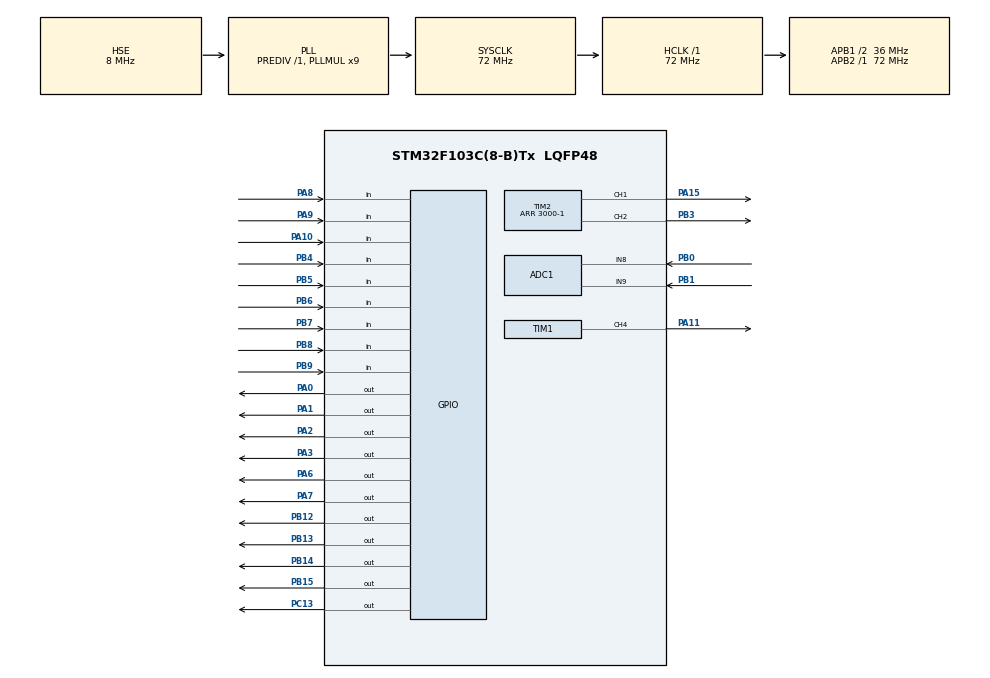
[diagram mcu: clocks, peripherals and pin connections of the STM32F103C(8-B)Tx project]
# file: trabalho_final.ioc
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ADC1.Channel-1\#ChannelRegularConversion=ADC_CHANNEL_8
ADC1.Channel-10\#ChannelRegularConversion=ADC_CHANNEL_9
ADC1.Channel-11\#ChannelRegularConversion=ADC_CHANNEL_9
ADC1.Channel-12\#ChannelRegularConversion=ADC_CHANNEL_9
ADC1.Channel-2\#ChannelRegularConversion=ADC_CHANNEL_8
ADC1.Channel-3\#ChannelRegularConversion=ADC_CHANNEL_8
ADC1.Channel-4\#ChannelRegularConversion=ADC_CHANNEL_8
ADC1.Channel-5\#ChannelRegularConversion=ADC_CHANNEL_8
ADC1.Channel-6\#ChannelRegularConversion=ADC_CHANNEL_8
ADC1.Channel-7\#ChannelRegularConversion=ADC_CHANNEL_9
ADC1.Channel-8\#ChannelRegularConversion=ADC_CHANNEL_9
ADC1.Channel-9\#ChannelRegularConversion=ADC_CHANNEL_9
ADC1.NbrOfConversion=12
ADC1.NbrOfConversionFlag=1
ADC1.Rank-1\#ChannelRegularConversion=1
ADC1.Rank-10\#ChannelRegularConversion=10
ADC1.Rank-11\#ChannelRegularConversion=11
ADC1.Rank-12\#ChannelRegularConversion=12
ADC1.Rank-2\#ChannelRegularConversion=2
ADC1.Rank-3\#ChannelRegularConversion=3
ADC1.Rank-4\#ChannelRegularConversion=4
ADC1.Rank-5\#ChannelRegularConversion=5
ADC1.Rank-6\#ChannelRegularConversion=6
ADC1.Rank-7\#ChannelRegularConversion=7
ADC1.Rank-8\#ChannelRegularConversion=8
ADC1.Rank-9\#ChannelRegularConversion=9
ADC1.SamplingTime-1\#ChannelRegularConversion=ADC_SAMPLETIME_1CYCLE_5
ADC1.SamplingTime-10\#ChannelRegularConversion=ADC_SAMPLETIME_1CYCLE_5
ADC1.SamplingTime-11\#ChannelRegularConversion=ADC_SAMPLETIME_1CYCLE_5
ADC1.SamplingTime-12\#ChannelRegularConversion=ADC_SAMPLETIME_1CYCLE_5
ADC1.SamplingTime-2\#ChannelRegularConversion=ADC_SAMPLETIME_1CYCLE_5
ADC1.SamplingTime-3\#ChannelRegularConversion=ADC_SAMPLETIME_1CYCLE_5
ADC1.SamplingTime-4\#ChannelRegularConversion=ADC_SAMPLETIME_1CYCLE_5
ADC1.SamplingTime-5\#ChannelRegularConversion=ADC_SAMPLETIME_1CYCLE_5
ADC1.SamplingTime-6\#ChannelRegularConversion=ADC_SAMPLETIME_1CYCLE_5
ADC1.SamplingTime-7\#ChannelRegularConversion=ADC_SAMPLETIME_1CYCLE_5
ADC1.SamplingTime-8\#ChannelRegularConversion=ADC_SAMPLETIME_1CYCLE_5
ADC1.SamplingTime-9\#ChannelRegularConversion=ADC_SAMPLETIME_1CYCLE_5
ADC1.master=1
Dma.ADC1.0.Direction=DMA_PERIPH_TO_MEMORY
Dma.ADC1.0.Instance=DMA1_Channel1
Dma.ADC1.0.MemDataAlignment=DMA_MDATAALIGN_WORD
Dma.ADC1.0.MemInc=DMA_MINC_ENABLE
Dma.ADC1.0.Mode=DMA_CIRCULAR
Dma.ADC1.0.PeriphDataAlignment=DMA_PDATAALIGN_WORD
Dma.ADC1.0.PeriphInc=DMA_PINC_DISABLE
Dma.ADC1.0.Priority=DMA_PRIORITY_LOW
Dma.MEMTOMEM.1.Direction=DMA_MEMORY_TO_MEMORY
Dma.MEMTOMEM.1.Instance=DMA1_Channel2
Dma.MEMTOMEM.1.MemDataAlignment=DMA_MDATAALIGN_WORD
Dma.MEMTOMEM.1.MemInc=DMA_MINC_ENABLE
Dma.MEMTOMEM.1.Mode=DMA_NORMAL
Dma.MEMTOMEM.1.PeriphDataAlignment=DMA_PDATAALIGN_WORD
Dma.MEMTOMEM.1.PeriphInc=DMA_PINC_ENABLE
Dma.MEMTOMEM.1.Priority=DMA_PRIORITY_LOW
Dma.Request0=ADC1
Dma.Request1=MEMTOMEM
Mcu.Family=STM32F1
Mcu.Name=STM32F103C(8-B)Tx
Mcu.Package=LQFP48
NVIC.DMA1_Channel1_IRQn=true\:0\:0\:false\:false\:true\:false\:true
NVIC.PriorityGroup=NVIC_PRIORITYGROUP_4
NVIC.TIM3_IRQn=true\:0\:0\:false\:false\:true\:true\:true
NVIC.TIM4_IRQn=true\:0\:0\:false\:false\:true\:true\:true
PA0-WKUP.Signal=GPIO_Output
PA1.Signal=GPIO_Output
PA10.Signal=GPIO_Input
PA11.Signal=S_TIM1_CH4
PA13.Mode=Serial_Wire
PA13.Signal=SYS_JTMS-SWDIO
PA14.Mode=Serial_Wire
PA14.Signal=SYS_JTCK-SWCLK
PA15.Signal=S_TIM2_CH1_ETR
PA2.Signal=GPIO_Output
PA3.Signal=GPIO_Output
PA6.Signal=GPIO_Output
PA7.Signal=GPIO_Output
PA8.Signal=GPIO_Input
PA9.Signal=GPIO_Input
PB0.Signal=ADCx_IN8
PB1.Signal=ADCx_IN9
PB12.Signal=GPIO_Output
PB13.Signal=GPIO_Output
PB14.Signal=GPIO_Output
PB15.Signal=GPIO_Output
PB3.Signal=S_TIM2_CH2
PB4.Signal=GPIO_Input
PB5.Signal=GPIO_Input
PB6.Signal=GPIO_Input
PB7.Signal=GPIO_Input
PB8.Signal=GPIO_Input
PB9.Signal=GPIO_Input
PC13-TAMPER-RTC.Signal=GPIO_Output
PD0-OSC_IN.Mode=HSE-External-Oscillator
PD0-OSC_IN.Signal=RCC_OSC_IN
PD1-OSC_OUT.Mode=HSE-External-Oscillator
PD1-OSC_OUT.Signal=RCC_OSC_OUT
ProjectManager.HeapSize=0x200
ProjectManager.StackSize=0x400
ProjectManager.TargetToolchain=STM32CubeIDE
RCC.ADCPresc=RCC_ADCPCLK2_DIV6
RCC.AHBFreq_Value=72000000
RCC.APB1CLKDivider=RCC_HCLK_DIV2
RCC.APB1Freq_Value=36000000
RCC.APB1TimFreq_Value=72000000
RCC.APB2Freq_Value=72000000
RCC.APB2TimFreq_Value=72000000
RCC.HCLKFreq_Value=72000000
RCC.PLLMUL=RCC_PLL_MUL9
RCC.PLLSourceVirtual=RCC_PLLSOURCE_HSE
RCC.SYSCLKFreq_VALUE=72000000
RCC.SYSCLKSource=RCC_SYSCLKSOURCE_PLLCLK
RCC.USBFreq_Value=72000000
SH.ADCx_IN8.0=ADC1_IN8,IN8
SH.ADCx_IN9.0=ADC1_IN9,IN9
SH.S_TIM1_CH4.0=TIM1_CH4,PWM Generation4 CH4
SH.S_TIM2_CH1_ETR.0=TIM2_CH1,PWM Generation1 CH1
SH.S_TIM2_CH2.0=TIM2_CH2,PWM Generation2 CH2
TIM1.AutoReloadPreload=TIM_AUTORELOAD_PRELOAD_ENABLE
TIM1.Channel-PWM\ Generation4\ CH4=TIM_CHANNEL_4
TIM1.Period=3000-1
TIM2.AutoReloadPreload=TIM_AUTORELOAD_PRELOAD_ENABLE
TIM2.Channel-PWM\ Generation1\ CH1=TIM_CHANNEL_1
TIM2.Channel-PWM\ Generation2\ CH2=TIM_CHANNEL_2
TIM2.Period=3000-1
TIM3.Period=3334
TIM3.Prescaler=7201
TIM4.Period=10001
TIM4.Prescaler=7201
VP_TIM1_VS_ClockSourceINT.Mode=Internal
VP_TIM2_VS_ClockSourceINT.Mode=Internal
VP_TIM3_VS_ClockSourceINT.Mode=Internal
VP_TIM4_VS_ClockSourceINT.Mode=Internal
board=custom

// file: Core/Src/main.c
/* USER CODE BEGIN Header */
/**
  ******************************************************************************
  * @file           : main.c
  * @brief          : Main program body
  ******************************************************************************
  * @attention
  *
  * <h2><center>&copy; Copyright (c) 2020 STMicroelectronics.
  * All rights reserved.</center></h2>
  *
  * This software component is licensed by ST under BSD 3-Clause license,
  * the "License"; You may not use this file except in compliance with the
  * License. You may obtain a copy of the License at:
  *                        opensource.org/licenses/BSD-3-Clause
  *
  ******************************************************************************
  */
/* USER CODE END Header */
#include "main.h"

/* USER CODE BEGIN Includes */
#include "display.h"
#include <string.h>
#include <stdio.h>
#include <time.h>
/* USER CODE END Includes */

/* USER CODE BEGIN PD */
#define yes 1
#define no 0
#define NUMBER_OF_CONVERSION 12
#define scala_temperatura (3.3/4095)/0.005
#define MAX_DUTY_CYCLE_VALUE_TIM2 3000
#define MAX_DUTY_CYCLE_VALUE_TIM1 3000
/* USER CODE END PD */

ADC_HandleTypeDef hadc1;
DMA_HandleTypeDef hdma_adc1;

TIM_HandleTypeDef htim1;
TIM_HandleTypeDef htim2;
TIM_HandleTypeDef htim3;
TIM_HandleTypeDef htim4;

DMA_HandleTypeDef hdma_memtomem_dma1_channel2;

/* USER CODE BEGIN PV */

//Variáveis para as saídas e entradas da cafeteira
uint16_t P1 = GPIO_PIN_5;//pino PB5
uint8_t state_P1;
uint16_t P2 = GPIO_PIN_4;//pino PB4
uint8_t state_P2;
uint16_t B1;//pino PA11
uint16_t R1;//pino PA15
uint16_t T1;//pino PB0
uint16_t CP1;//pino PB3
uint16_t T2;//pino PB1
uint16_t Y1 = GPIO_PIN_15;//pino PB15
uint16_t Y2 = GPIO_PIN_14;//pino PB14
uint16_t Y3 = GPIO_PIN_13;//pino PB13
uint16_t Y4 = GPIO_PIN_12;//pino PB12
uint8_t Bn1;
uint16_t Bn1_bit1 = GPIO_PIN_8;//pino PA8
uint16_t Bn1_bit2 = GPIO_PIN_9;//pino PA9
uint16_t Bn1_bit3 = GPIO_PIN_10;//pino PA10
uint8_t state_Bn1_bit1;
uint8_t state_Bn1_bit2;
uint8_t state_Bn1_bit3;

//Variáveis para o DMA e ADC
uint8_t adcDataReady;
uint32_t adcData[NUMBER_OF_CONVERSION];

//Variáveis para os botões
uint16_t btn_c = GPIO_PIN_6;//pino PB6
uint16_t btn_mais = GPIO_PIN_7;//pino PB7
uint16_t btn_menos = GPIO_PIN_8;//pino PB8
uint16_t btn_s = GPIO_PIN_9;//pino PB9
uint8_t state_btn_c;
uint8_t state_btn_mais;
uint8_t state_btn_menos;
uint8_t state_btn_s;

//Variávais para os pinos do display
uint16_t D4 = GPIO_PIN_2;//pino PA2
uint16_t D5 = GPIO_PIN_3;//pino PA3
uint16_t D6 = GPIO_PIN_6;//pino PA6
uint16_t D7 = GPIO_PIN_7;//pino PA7

uint16_t E = GPIO_PIN_1;//pino PA1
uint16_t RS = GPIO_PIN_0;//pino PA0

//Variáveis usadas para auxílio
int32_t i;
int32_t j;
uint8_t state_relogio;
int8_t selecao = -1;
uint8_t estado;
uint16_t aux1;
uint16_t aux2;
uint32_t dutyCycle_TIM1_CH4;
uint32_t dutyCycle_TIM2_CH1;
uint32_t dutyCycle_TIM2_CH2;
uint16_t horas;
uint16_t minutos;
uint16_t segundos;
char aux3[2];

/* USER CODE END PV */

void SystemClock_Config(void);
static void MX_GPIO_Init(void);
static void MX_DMA_Init(void);
static void MX_ADC1_Init(void);
static void MX_TIM2_Init(void);
static void MX_TIM1_Init(void);
static void MX_TIM3_Init(void);
static void MX_TIM4_Init(void);

int main(void)
{

  /* MCU Configuration--------------------------------------------------------*/

  /* Reset of all peripherals, Initializes the Flash interface and the Systick. */
  HAL_Init();

  /* Configure the system clock */
  SystemClock_Config();

  /* Initialize all configured peripherals */
  MX_GPIO_Init();
  MX_DMA_Init();
  MX_ADC1_Init();
  MX_TIM2_Init();
  MX_TIM1_Init();
  MX_TIM3_Init();
  MX_TIM4_Init();
  /* USER CODE BEGIN 2 */

  //Calibração do ADC
  HAL_ADCEx_Calibration_Start(&hadc1);

  //Inicializa timers
  HAL_TIM_PWM_Start(&htim1, TIM_CHANNEL_4);
  HAL_TIM_PWM_Start(&htim2, TIM_CHANNEL_1);
  HAL_TIM_PWM_Start(&htim2, TIM_CHANNEL_2);
  HAL_TIM_Base_Start_IT(&htim3);
  HAL_TIM_Base_Start_IT(&htim4);

   //captura a hora do sistema e converte para uint
   strcpy(aux3, __TIME__);
   horas = atoi(aux3);
   strcpy(aux3, __TIME__ +3);
   minutos = atoi(aux3);
   strcpy(aux3, __TIME__ +6);
   segundos = atoi(aux3);

  //Inicializa o display
  variaveis_display(E, RS, D4, D5, D6, D7);
  inicializar_display();
  limpar_display();
  escrever_texto_display(0xC0, "Inicializando...");
  HAL_Delay(2000);

  //Estrutura para guardra os dados das capsulas
  typedef struct
  {
    char nome[17];
    char tipo_agua[10];
    float tempo_agua;
    float temperatura_agua;
    int8_t com_gas;
    float tempo_gas;
  }info_capsula;

 //Insere as informações das capsulas na estrutura
 info_capsula capsulas[8];

 	strcpy(capsulas[0].nome, "                ");
	strcpy(capsulas[0].tipo_agua, '\0');
	capsulas[0].tempo_agua = 0;
	capsulas[0].temperatura_agua = 0;
	capsulas[0].com_gas = no;
	capsulas[0].tempo_gas = 0;

	strcpy(capsulas[1].nome, "      Agua      ");
	strcpy(capsulas[1].tipo_agua, '\0');
	capsulas[1].tempo_agua = 1.5;
	capsulas[1].temperatura_agua = 0;
	capsulas[1].com_gas = no;
	capsulas[1].tempo_gas = 0;

	strcpy(capsulas[2].nome, "  Agua com gas  ");
	strcpy(capsulas[2].tipo_agua, "gelada");
	capsulas[2].tempo_agua = 3;
	capsulas[2].temperatura_agua = 15;
	capsulas[2].com_gas = yes;
	capsulas[2].tempo_gas = 1.5;

	strcpy(capsulas[3].nome, "   Cha gelado   ");
	strcpy(capsulas[3].tipo_agua, "gelada");
	capsulas[3].tempo_agua = 2.7;
	capsulas[3].temperatura_agua = 20;
	capsulas[3].com_gas = no;
	capsulas[3].tempo_gas = 0;

	strcpy(capsulas[4].nome, "   Cha quente   ");
	strcpy(capsulas[4].tipo_agua, "quente");
	capsulas[4].tempo_agua = 2.7;
	capsulas[4].temperatura_agua = 60;
	capsulas[4].com_gas = no;
	capsulas[4].tempo_gas = 0;

	strcpy(capsulas[5].nome, "  Refrigerante  ");
	strcpy(capsulas[5].tipo_agua, "gelada");
	capsulas[5].tempo_agua = 4;
	capsulas[5].temperatura_agua = 17;
	capsulas[5].com_gas = yes;
	capsulas[5].tempo_gas = 2.56;

	strcpy(capsulas[6].nome, "Cap. nao cadast.");
	strcpy(capsulas[6].tipo_agua, '\0');
	capsulas[6].tempo_agua = 0;
	capsulas[6].temperatura_agua = 0;
	capsulas[6].com_gas = no;
	capsulas[6].tempo_gas = 0;

	strcpy(capsulas[7].nome, "Cap. nao cadast.");
	strcpy(capsulas[7].tipo_agua, '\0');
	capsulas[7].tempo_agua = 0;
	capsulas[7].temperatura_agua = 0;
	capsulas[7].com_gas = no;
	capsulas[7].tempo_gas = 0;

  /* USER CODE END 2 */

  /* Infinite loop */
  /* USER CODE BEGIN WHILE */

	limpar_display();

  while (1)
  {

	  //Leitura da capsula
	  state_Bn1_bit1 = HAL_GPIO_ReadPin(GPIOA, Bn1_bit1);
	  state_Bn1_bit2 = HAL_GPIO_ReadPin(GPIOA, Bn1_bit2);
	  state_Bn1_bit3 = HAL_GPIO_ReadPin(GPIOA, Bn1_bit3);
	  Bn1 = (state_Bn1_bit3 * 4) + (state_Bn1_bit2 * 2) + state_Bn1_bit1;

	  ////Leitura pressostato/////
	  state_P1 = HAL_GPIO_ReadPin(GPIOB, P1);
	  state_P2 = HAL_GPIO_ReadPin(GPIOB, P2);

	  if(state_P1){//Verifica se o filtro estiver limpo
		  escrever_texto_display(0x80, capsulas[Bn1].nome);
	  }else{

		  escrever_texto_display(0x80, "Filt. agua satu.");
		  estado = 0;
	  }
	  if(capsulas[Bn1].com_gas == yes && !state_P2 && state_P1){//Se o cinlintro de CO2 estiver vazio e for inserida uma capsula q usa gas
		  HAL_Delay(2000);
		  escrever_texto_display(0x80, "Cilin. CO2 vazio");
		  HAL_Delay(2000);
		  estado = 0;
	  }
	  if((Bn1 == 0 && !state_P2) ||(!state_P1 && !state_P2)){//Se o cilindro de CO2 estiver vazio e não tiver capsulas inseridas ou o filtro esta sujo e o cilindro vazio
		  if(!state_P1 && !state_P2)HAL_Delay(2000);
		  escrever_texto_display(0x80, "Cilin. CO2 vazio");
		  if(!state_P1 && !state_P2)HAL_Delay(2000);
	  }

	  switch(estado){

	  	  	  	  case 0://Verificação inicial da capsula e relogio

	  	  	  		  //Mostra a hora
	  	  	  		  escrever_texto_display(0xC0, "    ");
	  	  	  		  if(horas < 10){
	  	  	  			  escrever_texto_display(0xC4, "0");
	  	  	  			  escrever_numero_display(0xC5, horas);
	  	  	  			  escrever_texto_display(0xC6, ":");
	  	  	  		  }else{
		  	  	  		  escrever_numero_display(0xC4, horas);
		  	  	  		  escrever_texto_display(0xC6, ":");
	  	  	  		  }
	  	  	  		  if(minutos < 10){
	  	  	  			  escrever_texto_display(0xC7, "0");
	  	  	  			  escrever_numero_display(0xC8, minutos);
	  	  	  		  	  escrever_texto_display(0xC9, ":");
	  	  	  		  }else{
	  	  	  			  escrever_numero_display(0xC7, minutos);
	  	  	  		  	  escrever_texto_display(0xC9, ":");
	  	  	  		  }
	  	  	  		  if(segundos < 10){
	  	  	  			  escrever_texto_display(0xCA, "0");
	  	  	  			  escrever_numero_display(0xCB, segundos);
	  	  	  		  }else{
	  	  	  			  escrever_numero_display(0xCA, segundos);
	  	  	  		  }
	  	  	  		  escrever_texto_display(0xCC, "    ");

	  	  	  		  if(Bn1 != 0 && state_P1){//Se houver capsula e o filtro limpo avança para o próximo estado
	  	  	  			  estado = 1;
	  	  	  		  }else{
	  	  	  			  state_relogio = 0;
	  	  	  		  }
					  break;

	              case 1://Detecta qual o tipo da capsula e confima se esta cadastrada

	            	  if(strcmp(capsulas[Bn1].nome, "Cap. nao cadast.") == 0 ||  Bn1 == 0){//Se a capsula não estiver cadastrada ou se o usuario tirou a capsula capsula
						estado = 0;
						state_relogio = 0;
						break;
	            	  }

					  if(capsulas[Bn1].com_gas == yes && !state_P2){//Se o cinlintro de CO2 estiver vazio não deixa avançar no código
							estado = 0;
							break;
					  }

					  if(strcmp(capsulas[Bn1].nome, "      Agua      ") == 0 && selecao == -1){//Se for a capsula de Agua vai para estado 5
						  estado = 5;
						  selecao = 0;
						  break;
					  }

					  if(state_relogio){//Se o usuário colocou a capsula e cancelou - mostra o relógio
						  estado = 0;
					  }else{//Se não mostra o texto
						  escrever_texto_display(0xC0, " S para iniciar ");
					  }

					  if(state_btn_s){//Avança para p próximo estado de tudo certo
						  if(strcmp(capsulas[Bn1].nome, "      Agua      ") == 0 && selecao == 4){//Caso o usuario tenha inserido a capsula de Agua e não selecionato o tipo de água
							  estado = 5;
							  state_btn_s = 0;
							  state_relogio = 0;
							  break;
						  }else{
							  selecao = -1;
						  }
						  estado = 2;
						  state_relogio = 0;
						}

					  if(state_btn_c){//Se o usuário inseriu a capsula e cancelou o início - muda o status do relógio
						  state_relogio = 1;
					  	 }

	                  break;

	              case 2://Identifica qual o tipo de água da capsula e faz o aquecimento ou resfriamento se necessário

	            	  //Leitura das temperaturas ////
	            	  	  T1 = 0;
	            	  	  T2 = 0;
	            	  	  for(j=0; j < 6; j++){//Lê 6 vezes os 12 canias para ter 36 amostra de cada sensor de temperatura
	            	  		  HAL_ADC_Start_DMA(&hadc1, adcData, NUMBER_OF_CONVERSION);
	            	  		  while(!adcDataReady){}
	            	  		  if(adcDataReady){
	            	  			  adcDataReady = 0;
	            	  			  aux1 = 0;
	            	  			  aux1 = 0;
	            	  			  for(i=0; i < NUMBER_OF_CONVERSION; i++){
	            	  				  if(i<6){
	            	  					  aux1 += adcData[i];
	            	  				  }else{
	            	  					  aux2 += adcData[i];
	            	  				  }
	            	  			  }
	            	  			  aux1 /= (NUMBER_OF_CONVERSION/2);
	            	  			  aux2 /= (NUMBER_OF_CONVERSION/2);
	            	  			  aux1 *= scala_temperatura;
	            	  			  aux2 *= scala_temperatura;
	            	  			  T1 += aux1;
	            	  			  T2 += aux2;
	            	  		  }
	            	  	  }
	            	  	  T1 /= 6;
	            	  	  T2 /= 6;
	            	  	  if(T1 > 100) T1 = 100;
	            	  	  if(T1 < 5) T1 = 5;
	            	  	  if(T2 > 50) T2 = 50;
	            	  	  if(T2 < 5) T2 = 5;

	                  if(strcmp(capsulas[Bn1].tipo_agua, "quente") == 0){
	        			  escrever_texto_display(0xC0, " Aquecendo agua ");
	        			  if(T1 >= capsulas[Bn1].temperatura_agua){//Se a temperatura da água estiver menor ou igual a temperatura especificada na capsula
	        			  	  HAL_GPIO_WritePin(GPIOB, Y1, GPIO_PIN_SET);//Abre valvula de aguá gelada
	        				  estado = 3;//Avança para o próximo estado
	        				  dutyCycle_TIM2_CH1 = 0;//Desliga o compressor
	        				  TIM2->CCR1 = dutyCycle_TIM2_CH1;
	        			  }else{//Senão faz a ação de controle
	        				  dutyCycle_TIM2_CH1 = (100-((T1*100)/capsulas[Bn1].temperatura_agua))*(MAX_DUTY_CYCLE_VALUE_TIM2/100);//Equação para o controle proporcional da resitencia
	        				  TIM2->CCR1 = dutyCycle_TIM2_CH1;
	        			  }
	                  }

	                  if(strcmp(capsulas[Bn1].tipo_agua, "gelada") == 0){//Se a temperatura da água estiver maior ou igual a temperatura especificada na capsula
	        			  escrever_texto_display(0xC0, "  Gelando agua  ");
	        			  if(T2 <= capsulas[Bn1].temperatura_agua){
	        			  	  HAL_GPIO_WritePin(GPIOB, Y2, GPIO_PIN_SET);//Abre valvula de água quente
	        				  estado = 3;//Avança para o próximo estado
	        				  dutyCycle_TIM2_CH2 = 0;//Desliga a resitência
	        				  TIM2->CCR2 = dutyCycle_TIM2_CH2;
	        			  }else{//Senão faz a ação de controle
	        				  dutyCycle_TIM2_CH2 = ((T2*100)/50)*(MAX_DUTY_CYCLE_VALUE_TIM2/100);//Equação para o controle proporcional do compressor
	        				  TIM2->CCR2 = dutyCycle_TIM2_CH2;
	        			  }
	                  }

	                  if(strcmp(capsulas[Bn1].tipo_agua, "natural") == 0){//Se o tipo de água for natural só abre a valvula
	                	  escrever_texto_display(0xC0, "  Agua natural  ");
	                  	  HAL_GPIO_WritePin(GPIOB, Y3, GPIO_PIN_SET);//Abre valvula de água natural
	                	  estado = 3;//Avança para o próximo estado
	                  }

	                  break;

	              case 3://Ativa a bomba e o CO2

        			  escrever_texto_display(0xC0, "Preparando drink");

	                  if(capsulas[Bn1].com_gas == yes){

	                	  HAL_GPIO_WritePin(GPIOB, Y4, GPIO_PIN_SET);//Abre valvula de gás
	                	  for(i=0; i <= 3000; i++){//Liga gradualmente a bomba
							  dutyCycle_TIM1_CH4 = i;
							  TIM1->CCR4 = dutyCycle_TIM1_CH4;
							  HAL_Delay(0.06);
	                	  }

	                	  HAL_Delay(((capsulas[Bn1].tempo_gas)*1000)-200);
	                	  HAL_GPIO_WritePin(GPIOB, Y4, GPIO_PIN_RESET);//Fecha valvula de gas
	                	  HAL_Delay(((capsulas[Bn1].tempo_agua-capsulas[Bn1].tempo_gas)*1000)-250);
	                	  for(i=3000; i >= 0; i--){//Desliga gradualmete o bomba
							  dutyCycle_TIM1_CH4 = i;
							  TIM1->CCR4 = dutyCycle_TIM1_CH4;
							  HAL_Delay(0.08);
						  }

	                  }else{
	                	  for(i=0; i <= 3000; i++){//Liga gradualmente a bomba
							  dutyCycle_TIM1_CH4 = i;
							  TIM1->CCR4 = dutyCycle_TIM1_CH4;
							  HAL_Delay(0.06);
	                	  }
	                	  HAL_Delay(((capsulas[Bn1].tempo_agua)*1000)-550);
	                	  for(i=3000; i >= 0; i--){//Desliga gradualmete o bomba
							  dutyCycle_TIM1_CH4 = i;
							  TIM1->CCR4 = dutyCycle_TIM1_CH4;
							  HAL_Delay(0.08);
						  }
	                  }
	                  HAL_GPIO_WritePin(GPIOB, Y1, GPIO_PIN_RESET);//Fecha valvula de água quente
	                  HAL_GPIO_WritePin(GPIOB, Y2, GPIO_PIN_RESET);//Fecha valvula de água gelada
	                  HAL_GPIO_WritePin(GPIOB, Y3, GPIO_PIN_RESET);//Fecha valvula de água natural
	                  estado = 4;//Avança para o próximo estado

	                  break;

	              case 4://Aviso para remoçâo de capsula usada
	            	  escrever_texto_display(0xC0, "Remover capsula ");
	            	  if(Bn1 == 0){//Se capsula removida
	            		  estado = 0;//Retorna para o estado inicial
	            	  }
	            	  break;

	              case 5://Seleção do tipo de água para a capsula de Agua

	            	  if(strcmp(capsulas[Bn1].nome, "      Agua      ") != 0){//Se o usuário retirar a capsula ou for uma capsula diferente
	            		  estado = 0;//Retorna para o estado inicial
	            		  selecao = -1;
	            		  break;
	            	  }
	            	  //Incremento se os botões forem pressionados
	            	  if(state_btn_mais) selecao++;
					  if(state_btn_menos) selecao--;

					  //Se C presionado vai para o estado 1
					  if(state_btn_c) {
						  estado = 1;
						  selecao = 4;
						  break;
					  }

					  //Organiza a seleção de forma circular
					  if(selecao == -1) selecao = 3;
					  if(selecao == 4) selecao = 0;

					  //As opções
	        		  if(selecao == 0){
						  escrever_texto_display(0xC0, "   Agua quente  ");
						  strcpy(capsulas[Bn1].tipo_agua, "quente");
						  capsulas[Bn1].temperatura_agua = 80;
						  capsulas[Bn1].tempo_agua = 3;
					  }
					  if(selecao == 1){
						  escrever_texto_display(0xC0, "   Agua gelada  ");
						  strcpy(capsulas[Bn1].tipo_agua, "gelada");
						  capsulas[Bn1].temperatura_agua = 10;
						  capsulas[Bn1].tempo_agua = 3;
					  }
					  if(selecao == 3){
						  escrever_texto_display(0xC0, "   Agua natural  ");
						strcpy(capsulas[Bn1].tipo_agua, "natural");
						  capsulas[Bn1].tempo_agua = 3;
					  }

					  //Se S pressionado vai para o estado 1
					  if(state_btn_s) {
						  estado = 1;
					  }

	            	  break;

	          }

    /* USER CODE END WHILE */

  }
}

void SystemClock_Config(void)
{
  RCC_OscInitTypeDef RCC_OscInitStruct = {0};
  RCC_ClkInitTypeDef RCC_ClkInitStruct = {0};
  RCC_PeriphCLKInitTypeDef PeriphClkInit = {0};

  /** Initializes the RCC Oscillators according to the specified parameters
  * in the RCC_OscInitTypeDef structure.
  */
  RCC_OscInitStruct.OscillatorType = RCC_OSCILLATORTYPE_HSE;
  RCC_OscInitStruct.HSEState = RCC_HSE_ON;
  RCC_OscInitStruct.HSEPredivValue = RCC_HSE_PREDIV_DIV1;
  RCC_OscInitStruct.HSIState = RCC_HSI_ON;
  RCC_OscInitStruct.PLL.PLLState = RCC_PLL_ON;
  RCC_OscInitStruct.PLL.PLLSource = RCC_PLLSOURCE_HSE;
  RCC_OscInitStruct.PLL.PLLMUL = RCC_PLL_MUL9;
  if (HAL_RCC_OscConfig(&RCC_OscInitStruct) != HAL_OK)
  {
    Error_Handler();
  }
  /** Initializes the CPU, AHB and APB buses clocks
  */
  RCC_ClkInitStruct.ClockType = RCC_CLOCKTYPE_HCLK|RCC_CLOCKTYPE_SYSCLK
                              |RCC_CLOCKTYPE_PCLK1|RCC_CLOCKTYPE_PCLK2;
  RCC_ClkInitStruct.SYSCLKSource = RCC_SYSCLKSOURCE_PLLCLK;
  RCC_ClkInitStruct.AHBCLKDivider = RCC_SYSCLK_DIV1;
  RCC_ClkInitStruct.APB1CLKDivider = RCC_HCLK_DIV2;
  RCC_ClkInitStruct.APB2CLKDivider = RCC_HCLK_DIV1;

  if (HAL_RCC_ClockConfig(&RCC_ClkInitStruct, FLASH_LATENCY_2) != HAL_OK)
  {
    Error_Handler();
  }
  PeriphClkInit.PeriphClockSelection = RCC_PERIPHCLK_ADC;
  PeriphClkInit.AdcClockSelection = RCC_ADCPCLK2_DIV6;
  if (HAL_RCCEx_PeriphCLKConfig(&PeriphClkInit) != HAL_OK)
  {
    Error_Handler();
  }
}

static void MX_ADC1_Init(void)
{

  ADC_ChannelConfTypeDef sConfig = {0};

  /** Common config
  */
  hadc1.Instance = ADC1;
  hadc1.Init.ScanConvMode = ADC_SCAN_ENABLE;
  hadc1.Init.ContinuousConvMode = DISABLE;
  hadc1.Init.DiscontinuousConvMode = DISABLE;
  hadc1.Init.ExternalTrigConv = ADC_SOFTWARE_START;
  hadc1.Init.DataAlign = ADC_DATAALIGN_RIGHT;
  hadc1.Init.NbrOfConversion = 12;
  if (HAL_ADC_Init(&hadc1) != HAL_OK)
  {
    Error_Handler();
  }
  /** Configure Regular Channel
  */
  sConfig.Channel = ADC_CHANNEL_8;
  sConfig.Rank = ADC_REGULAR_RANK_1;
  sConfig.SamplingTime = ADC_SAMPLETIME_1CYCLE_5;
  if (HAL_ADC_ConfigChannel(&hadc1, &sConfig) != HAL_OK)
  {
    Error_Handler();
  }
  /** Configure Regular Channel
  */
  sConfig.Rank = ADC_REGULAR_RANK_2;
  if (HAL_ADC_ConfigChannel(&hadc1, &sConfig) != HAL_OK)
  {
    Error_Handler();
  }
  /** Configure Regular Channel
  */
  sConfig.Rank = ADC_REGULAR_RANK_3;
  if (HAL_ADC_ConfigChannel(&hadc1, &sConfig) != HAL_OK)
  {
    Error_Handler();
  }
  /** Configure Regular Channel
  */
  sConfig.Rank = ADC_REGULAR_RANK_4;
  if (HAL_ADC_ConfigChannel(&hadc1, &sConfig) != HAL_OK)
  {
    Error_Handler();
  }
  /** Configure Regular Channel
  */
  sConfig.Rank = ADC_REGULAR_RANK_5;
  if (HAL_ADC_ConfigChannel(&hadc1, &sConfig) != HAL_OK)
  {
    Error_Handler();
  }
  /** Configure Regular Channel
  */
  sConfig.Rank = ADC_REGULAR_RANK_6;
  if (HAL_ADC_ConfigChannel(&hadc1, &sConfig) != HAL_OK)
  {
    Error_Handler();
  }
  /** Configure Regular Channel
  */
  sConfig.Channel = ADC_CHANNEL_9;
  sConfig.Rank = ADC_REGULAR_RANK_7;
  if (HAL_ADC_ConfigChannel(&hadc1, &sConfig) != HAL_OK)
  {
    Error_Handler();
  }
  /** Configure Regular Channel
  */
  sConfig.Rank = ADC_REGULAR_RANK_8;
  if (HAL_ADC_ConfigChannel(&hadc1, &sConfig) != HAL_OK)
  {
    Error_Handler();
  }
  /** Configure Regular Channel
  */
  sConfig.Rank = ADC_REGULAR_RANK_9;
  if (HAL_ADC_ConfigChannel(&hadc1, &sConfig) != HAL_OK)
  {
    Error_Handler();
  }
  /** Configure Regular Channel
  */
  sConfig.Rank = ADC_REGULAR_RANK_10;
  if (HAL_ADC_ConfigChannel(&hadc1, &sConfig) != HAL_OK)
  {
    Error_Handler();
  }
  /** Configure Regular Channel
  */
  sConfig.Rank = ADC_REGULAR_RANK_11;
  if (HAL_ADC_ConfigChannel(&hadc1, &sConfig) != HAL_OK)
  {
    Error_Handler();
  }
  /** Configure Regular Channel
  */
  sConfig.Rank = ADC_REGULAR_RANK_12;
  if (HAL_ADC_ConfigChannel(&hadc1, &sConfig) != HAL_OK)
  {
    Error_Handler();
  }

}

static void MX_TIM1_Init(void)
{

  TIM_ClockConfigTypeDef sClockSourceConfig = {0};
  TIM_MasterConfigTypeDef sMasterConfig = {0};
  TIM_OC_InitTypeDef sConfigOC = {0};
  TIM_BreakDeadTimeConfigTypeDef sBreakDeadTimeConfig = {0};

  htim1.Instance = TIM1;
  htim1.Init.Prescaler = 0;
  htim1.Init.CounterMode = TIM_COUNTERMODE_UP;
  htim1.Init.Period = 3000-1;
  htim1.Init.ClockDivision = TIM_CLOCKDIVISION_DIV1;
  htim1.Init.RepetitionCounter = 0;
  htim1.Init.AutoReloadPreload = TIM_AUTORELOAD_PRELOAD_ENABLE;
  if (HAL_TIM_Base_Init(&htim1) != HAL_OK)
  {
    Error_Handler();
  }
  sClockSourceConfig.ClockSource = TIM_CLOCKSOURCE_INTERNAL;
  if (HAL_TIM_ConfigClockSource(&htim1, &sClockSourceConfig) != HAL_OK)
  {
    Error_Handler();
  }
  if (HAL_TIM_PWM_Init(&htim1) != HAL_OK)
  {
    Error_Handler();
  }
  sMasterConfig.MasterOutputTrigger = TIM_TRGO_RESET;
  sMasterConfig.MasterSlaveMode = TIM_MASTERSLAVEMODE_DISABLE;
  if (HAL_TIMEx_MasterConfigSynchronization(&htim1, &sMasterConfig) != HAL_OK)
  {
    Error_Handler();
  }
  sConfigOC.OCMode = TIM_OCMODE_PWM1;
  sConfigOC.Pulse = 0;
  sConfigOC.OCPolarity = TIM_OCPOLARITY_HIGH;
  sConfigOC.OCFastMode = TIM_OCFAST_DISABLE;
  sConfigOC.OCIdleState = TIM_OCIDLESTATE_RESET;
  sConfigOC.OCNIdleState = TIM_OCNIDLESTATE_RESET;
  if (HAL_TIM_PWM_ConfigChannel(&htim1, &sConfigOC, TIM_CHANNEL_4) != HAL_OK)
  {
    Error_Handler();
  }
  sBreakDeadTimeConfig.OffStateRunMode = TIM_OSSR_DISABLE;
  sBreakDeadTimeConfig.OffStateIDLEMode = TIM_OSSI_DISABLE;
  sBreakDeadTimeConfig.LockLevel = TIM_LOCKLEVEL_OFF;
  sBreakDeadTimeConfig.DeadTime = 0;
  sBreakDeadTimeConfig.BreakState = TIM_BREAK_DISABLE;
  sBreakDeadTimeConfig.BreakPolarity = TIM_BREAKPOLARITY_HIGH;
  sBreakDeadTimeConfig.AutomaticOutput = TIM_AUTOMATICOUTPUT_DISABLE;
  if (HAL_TIMEx_ConfigBreakDeadTime(&htim1, &sBreakDeadTimeConfig) != HAL_OK)
  {
    Error_Handler();
  }
  HAL_TIM_MspPostInit(&htim1);

}

static void MX_TIM2_Init(void)
{

  TIM_ClockConfigTypeDef sClockSourceConfig = {0};
  TIM_MasterConfigTypeDef sMasterConfig = {0};
  TIM_OC_InitTypeDef sConfigOC = {0};

  htim2.Instance = TIM2;
  htim2.Init.Prescaler = 0;
  htim2.Init.CounterMode = TIM_COUNTERMODE_UP;
  htim2.Init.Period = 3000-1;
  htim2.Init.ClockDivision = TIM_CLOCKDIVISION_DIV1;
  htim2.Init.AutoReloadPreload = TIM_AUTORELOAD_PRELOAD_ENABLE;
  if (HAL_TIM_Base_Init(&htim2) != HAL_OK)
  {
    Error_Handler();
  }
  sClockSourceConfig.ClockSource = TIM_CLOCKSOURCE_INTERNAL;
  if (HAL_TIM_ConfigClockSource(&htim2, &sClockSourceConfig) != HAL_OK)
  {
    Error_Handler();
  }
  if (HAL_TIM_PWM_Init(&htim2) != HAL_OK)
  {
    Error_Handler();
  }
  sMasterConfig.MasterOutputTrigger = TIM_TRGO_RESET;
  sMasterConfig.MasterSlaveMode = TIM_MASTERSLAVEMODE_DISABLE;
  if (HAL_TIMEx_MasterConfigSynchronization(&htim2, &sMasterConfig) != HAL_OK)
  {
    Error_Handler();
  }
  sConfigOC.OCMode = TIM_OCMODE_PWM1;
  sConfigOC.Pulse = 0;
  sConfigOC.OCPolarity = TIM_OCPOLARITY_HIGH;
  sConfigOC.OCFastMode = TIM_OCFAST_DISABLE;
  if (HAL_TIM_PWM_ConfigChannel(&htim2, &sConfigOC, TIM_CHANNEL_1) != HAL_OK)
  {
    Error_Handler();
  }
  if (HAL_TIM_PWM_ConfigChannel(&htim2, &sConfigOC, TIM_CHANNEL_2) != HAL_OK)
  {
    Error_Handler();
  }
  HAL_TIM_MspPostInit(&htim2);

}

static void MX_TIM3_Init(void)
{

  TIM_ClockConfigTypeDef sClockSourceConfig = {0};
  TIM_MasterConfigTypeDef sMasterConfig = {0};

  htim3.Instance = TIM3;
  htim3.Init.Prescaler = 7201;
  htim3.Init.CounterMode = TIM_COUNTERMODE_UP;
  htim3.Init.Period = 3334;
  htim3.Init.ClockDivision = TIM_CLOCKDIVISION_DIV1;
  htim3.Init.AutoReloadPreload = TIM_AUTORELOAD_PRELOAD_DISABLE;
  if (HAL_TIM_Base_Init(&htim3) != HAL_OK)
  {
    Error_Handler();
  }
  sClockSourceConfig.ClockSource = TIM_CLOCKSOURCE_INTERNAL;
  if (HAL_TIM_ConfigClockSource(&htim3, &sClockSourceConfig) != HAL_OK)
  {
    Error_Handler();
  }
  sMasterConfig.MasterOutputTrigger = TIM_TRGO_RESET;
  sMasterConfig.MasterSlaveMode = TIM_MASTERSLAVEMODE_DISABLE;
  if (HAL_TIMEx_MasterConfigSynchronization(&htim3, &sMasterConfig) != HAL_OK)
  {
    Error_Handler();
  }

}

static void MX_TIM4_Init(void)
{

  TIM_ClockConfigTypeDef sClockSourceConfig = {0};
  TIM_MasterConfigTypeDef sMasterConfig = {0};

  htim4.Instance = TIM4;
  htim4.Init.Prescaler = 7201;
  htim4.Init.CounterMode = TIM_COUNTERMODE_UP;
  htim4.Init.Period = 10001;
  htim4.Init.ClockDivision = TIM_CLOCKDIVISION_DIV1;
  htim4.Init.AutoReloadPreload = TIM_AUTORELOAD_PRELOAD_DISABLE;
  if (HAL_TIM_Base_Init(&htim4) != HAL_OK)
  {
    Error_Handler();
  }
  sClockSourceConfig.ClockSource = TIM_CLOCKSOURCE_INTERNAL;
  if (HAL_TIM_ConfigClockSource(&htim4, &sClockSourceConfig) != HAL_OK)
  {
    Error_Handler();
  }
  sMasterConfig.MasterOutputTrigger = TIM_TRGO_RESET;
  sMasterConfig.MasterSlaveMode = TIM_MASTERSLAVEMODE_DISABLE;
  if (HAL_TIMEx_MasterConfigSynchronization(&htim4, &sMasterConfig) != HAL_OK)
  {
    Error_Handler();
  }

}

static void MX_DMA_Init(void)
{

  /* DMA controller clock enable */
  __HAL_RCC_DMA1_CLK_ENABLE();

  /* Configure DMA request hdma_memtomem_dma1_channel2 on DMA1_Channel2 */
  hdma_memtomem_dma1_channel2.Instance = DMA1_Channel2;
  hdma_memtomem_dma1_channel2.Init.Direction = DMA_MEMORY_TO_MEMORY;
  hdma_memtomem_dma1_channel2.Init.PeriphInc = DMA_PINC_ENABLE;
  hdma_memtomem_dma1_channel2.Init.MemInc = DMA_MINC_ENABLE;
  hdma_memtomem_dma1_channel2.Init.PeriphDataAlignment = DMA_PDATAALIGN_WORD;
  hdma_memtomem_dma1_channel2.Init.MemDataAlignment = DMA_MDATAALIGN_WORD;
  hdma_memtomem_dma1_channel2.Init.Mode = DMA_NORMAL;
  hdma_memtomem_dma1_channel2.Init.Priority = DMA_PRIORITY_LOW;
  if (HAL_DMA_Init(&hdma_memtomem_dma1_channel2) != HAL_OK)
  {
    Error_Handler( );
  }

  /* DMA interrupt init */
  /* DMA1_Channel1_IRQn interrupt configuration */
  HAL_NVIC_SetPriority(DMA1_Channel1_IRQn, 0, 0);
  HAL_NVIC_EnableIRQ(DMA1_Channel1_IRQn);

}

static void MX_GPIO_Init(void)
{
  GPIO_InitTypeDef GPIO_InitStruct = {0};

  /* GPIO Ports Clock Enable */
  __HAL_RCC_GPIOC_CLK_ENABLE();
  __HAL_RCC_GPIOD_CLK_ENABLE();
  __HAL_RCC_GPIOA_CLK_ENABLE();
  __HAL_RCC_GPIOB_CLK_ENABLE();

  /*Configure GPIO pin Output Level */
  HAL_GPIO_WritePin(GPIOC, GPIO_PIN_13, GPIO_PIN_RESET);

  /*Configure GPIO pin Output Level */
  HAL_GPIO_WritePin(GPIOA, GPIO_PIN_0|GPIO_PIN_1|GPIO_PIN_2|GPIO_PIN_3
                          |GPIO_PIN_6|GPIO_PIN_7, GPIO_PIN_RESET);

  /*Configure GPIO pin Output Level */
  HAL_GPIO_WritePin(GPIOB, GPIO_PIN_12|GPIO_PIN_13|GPIO_PIN_14|GPIO_PIN_15, GPIO_PIN_RESET);

  /*Configure GPIO pin : PC13 */
  GPIO_InitStruct.Pin = GPIO_PIN_13;
  GPIO_InitStruct.Mode = GPIO_MODE_OUTPUT_PP;
  GPIO_InitStruct.Pull = GPIO_NOPULL;
  GPIO_InitStruct.Speed = GPIO_SPEED_FREQ_LOW;
  HAL_GPIO_Init(GPIOC, &GPIO_InitStruct);

  /*Configure GPIO pins : PA0 PA1 PA2 PA3
                           PA6 PA7 */
  GPIO_InitStruct.Pin = GPIO_PIN_0|GPIO_PIN_1|GPIO_PIN_2|GPIO_PIN_3
                          |GPIO_PIN_6|GPIO_PIN_7;
  GPIO_InitStruct.Mode = GPIO_MODE_OUTPUT_PP;
  GPIO_InitStruct.Pull = GPIO_NOPULL;
  GPIO_InitStruct.Speed = GPIO_SPEED_FREQ_LOW;
  HAL_GPIO_Init(GPIOA, &GPIO_InitStruct);

  /*Configure GPIO pins : PB12 PB13 PB14 PB15 */
  GPIO_InitStruct.Pin = GPIO_PIN_12|GPIO_PIN_13|GPIO_PIN_14|GPIO_PIN_15;
  GPIO_InitStruct.Mode = GPIO_MODE_OUTPUT_PP;
  GPIO_InitStruct.Pull = GPIO_NOPULL;
  GPIO_InitStruct.Speed = GPIO_SPEED_FREQ_LOW;
  HAL_GPIO_Init(GPIOB, &GPIO_InitStruct);

  /*Configure GPIO pins : PA8 PA9 PA10 */
  GPIO_InitStruct.Pin = GPIO_PIN_8|GPIO_PIN_9|GPIO_PIN_10;
  GPIO_InitStruct.Mode = GPIO_MODE_INPUT;
  GPIO_InitStruct.Pull = GPIO_NOPULL;
  HAL_GPIO_Init(GPIOA, &GPIO_InitStruct);

  /*Configure GPIO pins : PB4 PB5 PB6 PB7
                           PB8 PB9 */
  GPIO_InitStruct.Pin = GPIO_PIN_4|GPIO_PIN_5|GPIO_PIN_6|GPIO_PIN_7
                          |GPIO_PIN_8|GPIO_PIN_9;
  GPIO_InitStruct.Mode = GPIO_MODE_INPUT;
  GPIO_InitStruct.Pull = GPIO_NOPULL;
  HAL_GPIO_Init(GPIOB, &GPIO_InitStruct);

}

/* USER CODE BEGIN 4 */
//Função para as inperrupções dos timers
void HAL_TIM_PeriodElapsedCallback(TIM_HandleTypeDef *htim)
{
  //Verifica qual time gerou a interrupção
  if (htim == &htim3)
  {

	  /////Leitura botões//////
	  state_btn_c = HAL_GPIO_ReadPin(GPIOB, btn_c);
	  state_btn_mais = HAL_GPIO_ReadPin(GPIOB, btn_mais);
	  state_btn_menos = HAL_GPIO_ReadPin(GPIOB, btn_menos);
	  state_btn_s = HAL_GPIO_ReadPin(GPIOB, btn_s);

	  //////Led para mostar que o sistemas esta funcionando////
	  HAL_GPIO_TogglePin(GPIOC, GPIO_PIN_13);
  }
  if (htim == &htim4){
	  //Contado para o funcionamento do relógio
	  segundos++;
	  if(segundos == 60){
		  segundos = 0;
		  minutos ++;
	  }
	  if(minutos == 60){
		  horas++;
		  minutos = 0;
	  }
	  if(horas == 24){
		  horas = 0;
	  }
  }
}

//Função do DMA
void HAL_ADC_ConvHalfCpltCallback(ADC_HandleTypeDef* hadc){
	adcDataReady = 1;
}

/* USER CODE END 4 */

void Error_Handler(void)
{
}

/************************ (C) COPYRIGHT STMicroelectronics *****END OF FILE****/
